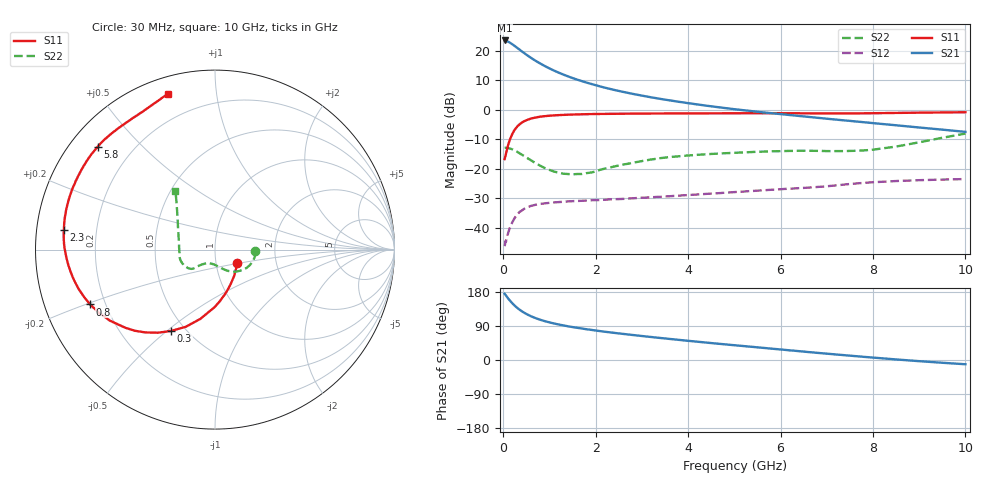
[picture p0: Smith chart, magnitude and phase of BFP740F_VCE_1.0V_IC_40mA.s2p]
! Infineon Technologies  Discrete & RF Semiconductors
! BFP740F
! VCE =  1.0 V,  IC =  40 mA
! Common Emitter S-Parameters:  Oct 2012
# GHz  S  MA  R  50
!  f  S11  S21  S12  S22
! GHz  MAG  ANG  MAG  ANG  MAG  ANG  MAG  ANG
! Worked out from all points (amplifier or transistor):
!   99 points, 30 MHz to 10 GHz, reference 50 ohm
!   highest |S21| = 23.4 dB at 30 MHz (marker M1)
!   |S21| within 3 dB of that: start of sweep to 345.7 MHz
!   unconditionally stable (mu >= 1): start of sweep to end of sweep
!   at 350 MHz: K = 1.71, MAG = 22.6 dB, |S12| = -34.7 dB
!   at 3.5 GHz: K = 2.46, MAG = 9.7 dB, |S12| = -29.4 dB
!   at 10 GHz: K = 3.02, MAG = 0.3 dB, |S12| = -23.5 dB
!   S11 on the Smith chart (normalised r, x): 30 MHz: 1.27, -0.19; 300 MHz: 0.42, -0.52; 800 MHz: 0.14, -0.21; 2.3 GHz: 0.08, +0.06; 5.8 GHz: 0.08, +0.37; 10 GHz: 0.08, +0.74
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0.03  0.1455 -30.9  14.82 175.0  0.0049 25.3  0.2256 -2.6
0.1  0.2405 -73.9  14.2 163.5  0.0078 42.8  0.2242 -12.0
0.15  0.3197 -90.2  13.51 156.0  0.0103 47.4  0.2195 -18.2
0.2  0.3942 -101.9  12.72 149.2  0.0126 46.6  0.2125 -24.1
0.25  0.4596 -110.7  11.92 143.2  0.0148 47.2  0.2038 -29.8
0.3  0.5144 -118.3  11.14 137.9  0.0167 44.5  0.1941 -35.1
0.35  0.5618 -124.5  10.43 133.1  0.0185 42.0  0.1836 -39.8
0.4  0.6024 -130.0  9.706 128.8  0.0196 40.1  0.1737 -44.4
0.5  0.6626 -138.9  8.521 121.5  0.022 35.9  0.155 -51.9
0.6  0.7066 -145.9  7.53 115.5  0.0235 33.1  0.1393 -58.5
0.7  0.7366 -151.6  6.712 110.5  0.0246 30.6  0.1245 -64.1
0.8  0.7602 -156.3  6.041 106.2  0.0254 28.7  0.1127 -69.5
1  0.7899 -163.7  4.987 99.3  0.0265 26.4  0.0957 -79.9
1.2  0.8084 -169.3  4.228 93.7  0.0273 24.8  0.0858 -90.1
1.7  0.8345 -179.2  3.042 83.1  0.0287 24.0  0.0815 -112.6
2.3  0.8494 172.6  2.254 73.1  0.0303 24.9  0.1045 -129.4
3.4  0.8613 160.8  1.521 58.1  0.0335 28.3  0.1512 -137.9
5.1  0.8688 144.8  0.999 37.9  0.0407 31.8  0.1877 -149.2
5.8  0.8692 138.8  0.872 30.0  0.0441 32.3  0.1975 -156.7
6.7  0.8649 130.0  0.742 20.0  0.0485 33.0  0.2011 -168.1
8.5  0.8801 113.1  0.544 1.5  0.062 27.8  0.2374 150.1
10  0.904 107.0  0.421 -11.2  0.067 21.6  0.3937 124.0
